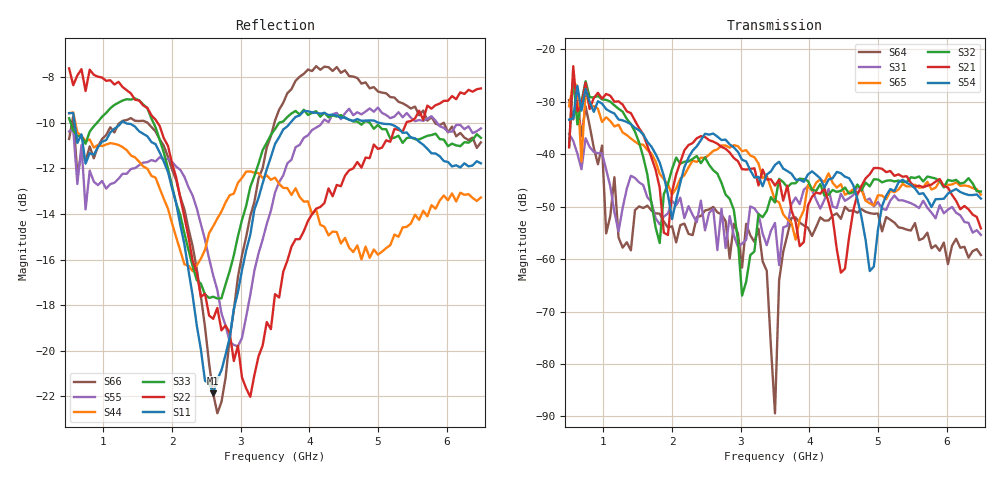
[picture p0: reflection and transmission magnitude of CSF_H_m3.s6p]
!Keysight Technologies,M9804A,MY58100912,A.14.10.03
!Date: Thursday, April 27, 2023 10:28:33
!Correction: S11(C  6-Port  )
!S12(C  6-Port  )
!S13(C  6-Port  )
!S14(C  6-Port  )
!S15(C  6-Port  )
!S16(C  6-Port  )
!S21(C  6-Port  )
!S22(C  6-Port  )
!S23(C  6-Port  )
!S24(C  6-Port  )
!S25(C  6-Port  )
!S26(C  6-Port  )
!S31(C  6-Port  )
!S32(C  6-Port  )
!S33(C  6-Port  )
!S34(C  6-Port  )
!S35(C  6-Port  )
!S36(C  6-Port  )
!S41(C  6-Port  )
!S42(C  6-Port  )
!S43(C  6-Port  )
!S44(C  6-Port  )
!S45(C  6-Port  )
!S46(C  6-Port  )
!S51(C  6-Port  )
!S52(C  6-Port  )
!S53(C  6-Port  )
!S54(C  6-Port  )
!S55(C  6-Port  )
!S56(C  6-Port  )
!S61(C  6-Port  )
!S62(C  6-Port  )
!S63(C  6-Port  )
!S64(C  6-Port  )
!S65(C  6-Port  )
!S66(C  6-Port  )
!S6P File: Measurement: :
# Hz S  RI  R 50
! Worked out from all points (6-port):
!   101 points, 500 MHz to 6.5 GHz, reference 50 ohm
!   strongest paths, dB at 500 MHz, 2 GHz, 3.5 GHz, 5 GHz, 6.5 GHz:
!     S54: -33.4, -52.4, -42.0, -54.4, -48.4
!     S21: -38.7, -47.2, -46.0, -42.6, -54.1
!     S32: -38.4, -42.8, -49.2, -44.8, -47.1
!     S65: -30.9, -47.7, -48.7, -47.8, -47.7
!     S31: -36.1, -48.9, -53.1, -49.1, -55.4
!     S64: -29.7, -53.7, -89.4, -51.3, -59.2
!   lowest |S11| = -21.9 dB at 2.6 GHz (marker M1), VSWR 1.18, Z = 42.8 + j1.97 ohm
!   |S11| at or under -10 dB: 579.6 MHz to 1.259 GHz (679.7 MHz wide, 73.9 % of centre); 1.321 GHz to 3.724 GHz (2.403 GHz wide, 95.3 % of centre); 5.019 GHz to end of sweep
